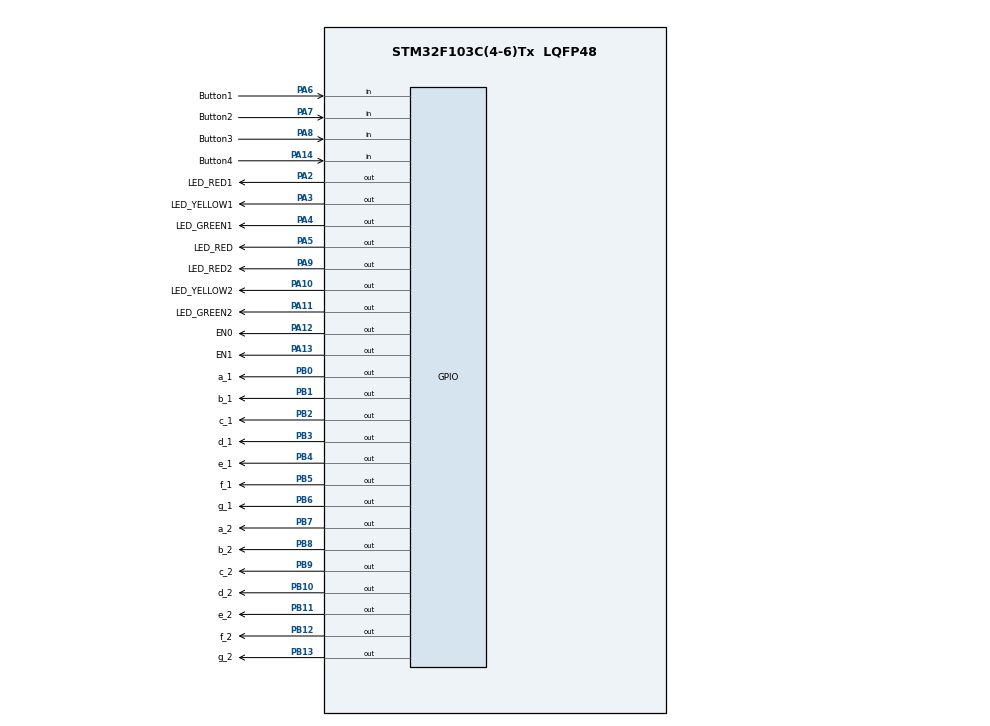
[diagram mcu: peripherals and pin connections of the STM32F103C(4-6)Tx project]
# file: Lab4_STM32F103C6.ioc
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Mcu.Family=STM32F1
Mcu.Name=STM32F103C(4-6)Tx
Mcu.Package=LQFP48
NVIC.PriorityGroup=NVIC_PRIORITYGROUP_4
NVIC.TIM2_IRQn=true\:0\:0\:false\:false\:true\:true\:true
PA10.GPIO_Label=LED_YELLOW2
PA10.Signal=GPIO_Output
PA11.GPIO_Label=LED_GREEN2
PA11.Signal=GPIO_Output
PA12.GPIO_Label=EN0
PA12.Signal=GPIO_Output
PA13.GPIO_Label=EN1
PA13.Signal=GPIO_Output
PA14.GPIO_Label=Button4
PA14.GPIO_PuPd=GPIO_PULLUP
PA14.Signal=GPIO_Input
PA2.GPIO_Label=LED_RED1
PA2.Signal=GPIO_Output
PA3.GPIO_Label=LED_YELLOW1
PA3.Signal=GPIO_Output
PA4.GPIO_Label=LED_GREEN1
PA4.Signal=GPIO_Output
PA5.GPIO_Label=LED_RED
PA5.Signal=GPIO_Output
PA6.GPIO_Label=Button1
PA6.GPIO_PuPd=GPIO_PULLUP
PA6.Signal=GPIO_Input
PA7.GPIO_Label=Button2
PA7.GPIO_PuPd=GPIO_PULLUP
PA7.Signal=GPIO_Input
PA8.GPIO_Label=Button3
PA8.GPIO_PuPd=GPIO_PULLUP
PA8.Signal=GPIO_Input
PA9.GPIO_Label=LED_RED2
PA9.Signal=GPIO_Output
PB0.GPIO_Label=a_1
PB0.Signal=GPIO_Output
PB1.GPIO_Label=b_1
PB1.Signal=GPIO_Output
PB10.GPIO_Label=d_2
PB10.Signal=GPIO_Output
PB11.GPIO_Label=e_2
PB11.Signal=GPIO_Output
PB12.GPIO_Label=f_2
PB12.Signal=GPIO_Output
PB13.GPIO_Label=g_2
PB13.Signal=GPIO_Output
PB2.GPIO_Label=c_1
PB2.Signal=GPIO_Output
PB3.GPIO_Label=d_1
PB3.Signal=GPIO_Output
PB4.GPIO_Label=e_1
PB4.Signal=GPIO_Output
PB5.GPIO_Label=f_1
PB5.Signal=GPIO_Output
PB6.GPIO_Label=g_1
PB6.Signal=GPIO_Output
PB7.GPIO_Label=a_2
PB7.Signal=GPIO_Output
PB8.GPIO_Label=b_2
PB8.Signal=GPIO_Output
PB9.GPIO_Label=c_2
PB9.Signal=GPIO_Output
ProjectManager.HeapSize=0x200
ProjectManager.StackSize=0x400
ProjectManager.TargetToolchain=STM32CubeIDE
RCC.APB1Freq_Value=8000000
RCC.APB2Freq_Value=8000000
TIM2.Period=9
TIM2.Prescaler=7999
VP_SYS_VS_ND.Mode=No_Debug
VP_TIM2_VS_ClockSourceINT.Mode=Internal
board=custom

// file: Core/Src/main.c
/* USER CODE BEGIN Header */
/**
  ******************************************************************************
  * @file           : main.c
  * @brief          : Main program body
  ******************************************************************************
  * @attention
  *
  * <h2><center>&copy; Copyright (c) 2025 STMicroelectronics.
  * All rights reserved.</center></h2>
  *
  * This software component is licensed by ST under BSD 3-Clause license,
  * the "License"; You may not use this file except in compliance with the
  * License. You may obtain a copy of the License at:
  *                        opensource.org/licenses/BSD-3-Clause
  *
  ******************************************************************************
  */
/* USER CODE END Header */
#include "main.h"

/* USER CODE BEGIN Includes */
#include "global.h"
/* USER CODE END Includes */

TIM_HandleTypeDef htim2;

void SystemClock_Config(void);
static void MX_GPIO_Init(void);
static void MX_TIM2_Init(void);

int main(void)
{
  /* USER CODE BEGIN 1 */
	//SCH_Add_Task(led_blinky, 0, 1000);
  /* USER CODE END 1 */

  /* MCU Configuration--------------------------------------------------------*/

  /* Reset of all peripherals, Initializes the Flash interface and the Systick. */
  HAL_Init();

  /* Configure the system clock */
  SystemClock_Config();

  /* Initialize all configured peripherals */
  MX_GPIO_Init();
  MX_TIM2_Init();
  /* USER CODE BEGIN 2 */
  HAL_TIM_Base_Start_IT(&htim2);

  setTimer(3, 50); // Blink 7SEG and single LEDs when moding
  status1 = INIT;
  status2 = INIT;
  HAL_GPIO_WritePin(EN0_GPIO_Port, EN0_Pin, RESET);
  HAL_GPIO_WritePin(EN1_GPIO_Port, EN1_Pin, RESET);

  SCH_Init();   // Initialize scheduler

  // Led Blinky
  SCH_Add_Task(ledBlinky, 0, 100);

  // Device Driver
  SCH_Add_Task(timerRun, 0, 1);      // Update timer per 10ms
  SCH_Add_Task(readButton, 0, 1);    // Read button per 10ms

  // FSM
  SCH_Add_Task(fsm_automatic_run, 0, 1);
  SCH_Add_Task(fsm_config, 0, 1);
  SCH_Add_Task(fsm_manual_run, 0, 1);
  /* USER CODE END 2 */

  /* Infinite loop */
  while (1)
  {

    /* USER CODE BEGIN 3 */
	  SCH_Dispatch_Tasks();
  }
  /* USER CODE END 3 */
}

void SystemClock_Config(void)
{
  RCC_OscInitTypeDef RCC_OscInitStruct = {0};
  RCC_ClkInitTypeDef RCC_ClkInitStruct = {0};

  /** Initializes the RCC Oscillators according to the specified parameters
  * in the RCC_OscInitTypeDef structure.
  */
  RCC_OscInitStruct.OscillatorType = RCC_OSCILLATORTYPE_HSI;
  RCC_OscInitStruct.HSIState = RCC_HSI_ON;
  RCC_OscInitStruct.HSICalibrationValue = RCC_HSICALIBRATION_DEFAULT;
  RCC_OscInitStruct.PLL.PLLState = RCC_PLL_NONE;
  if (HAL_RCC_OscConfig(&RCC_OscInitStruct) != HAL_OK)
  {
    Error_Handler();
  }
  /** Initializes the CPU, AHB and APB buses clocks
  */
  RCC_ClkInitStruct.ClockType = RCC_CLOCKTYPE_HCLK|RCC_CLOCKTYPE_SYSCLK
                              |RCC_CLOCKTYPE_PCLK1|RCC_CLOCKTYPE_PCLK2;
  RCC_ClkInitStruct.SYSCLKSource = RCC_SYSCLKSOURCE_HSI;
  RCC_ClkInitStruct.AHBCLKDivider = RCC_SYSCLK_DIV1;
  RCC_ClkInitStruct.APB1CLKDivider = RCC_HCLK_DIV1;
  RCC_ClkInitStruct.APB2CLKDivider = RCC_HCLK_DIV1;

  if (HAL_RCC_ClockConfig(&RCC_ClkInitStruct, FLASH_LATENCY_0) != HAL_OK)
  {
    Error_Handler();
  }
}

static void MX_TIM2_Init(void)
{

  TIM_ClockConfigTypeDef sClockSourceConfig = {0};
  TIM_MasterConfigTypeDef sMasterConfig = {0};

  htim2.Instance = TIM2;
  htim2.Init.Prescaler = 7999;
  htim2.Init.CounterMode = TIM_COUNTERMODE_UP;
  htim2.Init.Period = 9;
  htim2.Init.ClockDivision = TIM_CLOCKDIVISION_DIV1;
  htim2.Init.AutoReloadPreload = TIM_AUTORELOAD_PRELOAD_DISABLE;
  if (HAL_TIM_Base_Init(&htim2) != HAL_OK)
  {
    Error_Handler();
  }
  sClockSourceConfig.ClockSource = TIM_CLOCKSOURCE_INTERNAL;
  if (HAL_TIM_ConfigClockSource(&htim2, &sClockSourceConfig) != HAL_OK)
  {
    Error_Handler();
  }
  sMasterConfig.MasterOutputTrigger = TIM_TRGO_RESET;
  sMasterConfig.MasterSlaveMode = TIM_MASTERSLAVEMODE_DISABLE;
  if (HAL_TIMEx_MasterConfigSynchronization(&htim2, &sMasterConfig) != HAL_OK)
  {
    Error_Handler();
  }

}

static void MX_GPIO_Init(void)
{
  GPIO_InitTypeDef GPIO_InitStruct = {0};

  /* GPIO Ports Clock Enable */
  __HAL_RCC_GPIOA_CLK_ENABLE();
  __HAL_RCC_GPIOB_CLK_ENABLE();

  /*Configure GPIO pin Output Level */
  HAL_GPIO_WritePin(GPIOA, LED_RED1_Pin|LED_YELLOW1_Pin|LED_GREEN1_Pin|LED_RED_Pin
                          |LED_RED2_Pin|LED_YELLOW2_Pin|LED_GREEN2_Pin|EN0_Pin
                          |EN1_Pin, GPIO_PIN_RESET);

  /*Configure GPIO pin Output Level */
  HAL_GPIO_WritePin(GPIOB, a_1_Pin|b_1_Pin|c_1_Pin|d_2_Pin
                          |e_2_Pin|f_2_Pin|g_2_Pin|d_1_Pin
                          |e_1_Pin|f_1_Pin|g_1_Pin|a_2_Pin
                          |b_2_Pin|c_2_Pin, GPIO_PIN_RESET);

  /*Configure GPIO pins : LED_RED1_Pin LED_YELLOW1_Pin LED_GREEN1_Pin LED_RED_Pin
                           LED_RED2_Pin LED_YELLOW2_Pin LED_GREEN2_Pin EN0_Pin
                           EN1_Pin */
  GPIO_InitStruct.Pin = LED_RED1_Pin|LED_YELLOW1_Pin|LED_GREEN1_Pin|LED_RED_Pin
                          |LED_RED2_Pin|LED_YELLOW2_Pin|LED_GREEN2_Pin|EN0_Pin
                          |EN1_Pin;
  GPIO_InitStruct.Mode = GPIO_MODE_OUTPUT_PP;
  GPIO_InitStruct.Pull = GPIO_NOPULL;
  GPIO_InitStruct.Speed = GPIO_SPEED_FREQ_LOW;
  HAL_GPIO_Init(GPIOA, &GPIO_InitStruct);

  /*Configure GPIO pins : Button1_Pin Button2_Pin Button3_Pin Button4_Pin */
  GPIO_InitStruct.Pin = Button1_Pin|Button2_Pin|Button3_Pin|Button4_Pin;
  GPIO_InitStruct.Mode = GPIO_MODE_INPUT;
  GPIO_InitStruct.Pull = GPIO_PULLUP;
  HAL_GPIO_Init(GPIOA, &GPIO_InitStruct);

  /*Configure GPIO pins : a_1_Pin b_1_Pin c_1_Pin d_2_Pin
                           e_2_Pin f_2_Pin g_2_Pin d_1_Pin
                           e_1_Pin f_1_Pin g_1_Pin a_2_Pin
                           b_2_Pin c_2_Pin */
  GPIO_InitStruct.Pin = a_1_Pin|b_1_Pin|c_1_Pin|d_2_Pin
                          |e_2_Pin|f_2_Pin|g_2_Pin|d_1_Pin
                          |e_1_Pin|f_1_Pin|g_1_Pin|a_2_Pin
                          |b_2_Pin|c_2_Pin;
  GPIO_InitStruct.Mode = GPIO_MODE_OUTPUT_PP;
  GPIO_InitStruct.Pull = GPIO_NOPULL;
  GPIO_InitStruct.Speed = GPIO_SPEED_FREQ_LOW;
  HAL_GPIO_Init(GPIOB, &GPIO_InitStruct);

}

/* USER CODE BEGIN 4 */
void HAL_TIM_PeriodElapsedCallback(TIM_HandleTypeDef *htim)
{
	SCH_Update();
}
/* USER CODE END 4 */

void Error_Handler(void)
{
  __disable_irq();
  while (1)
  {
  }
}

/************************ (C) COPYRIGHT STMicroelectronics *****END OF FILE****/
